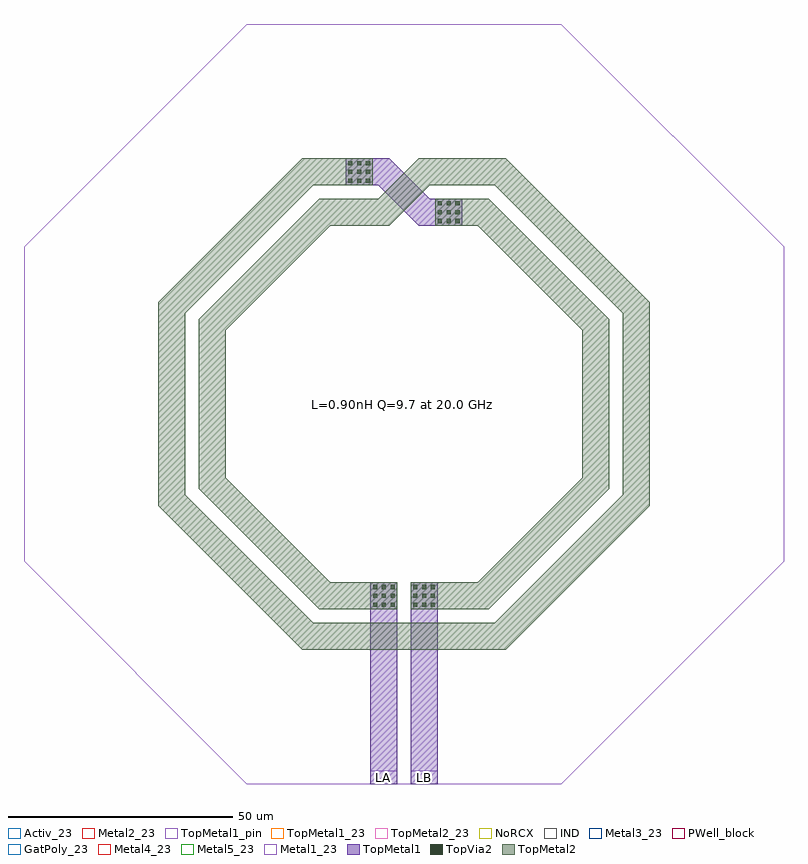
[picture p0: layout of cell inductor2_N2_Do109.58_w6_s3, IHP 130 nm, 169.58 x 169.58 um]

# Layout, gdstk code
import gdstk
lib = gdstk.Library(unit=1e-6, precision=1e-09)
def R(c, l, rs):  # rectangles x0, y0, x1, y1
    for r in rs: c.add(gdstk.rectangle(r[:2], r[2:], *l))
def A(c, l, x, y, w, h, nx, ny, dx, dy):  # array of equal rectangles
    R(c, l, [(x+i*dx, y+j*dy, x+i*dx+w, y+j*dy+h) for i in range(nx) for j in range(ny)])
def P(c, l, *ps):  # polygons
    for p in ps: c.add(gdstk.Polygon(p, *l))
Activ_23 = (1, 23)
GatPoly_23 = (5, 23)
Metal1_23 = (8, 23)
Metal2_23 = (10, 23)
IND = (27, 0)
Metal3_23 = (30, 23)
PWell_block = (46, 21)
Metal4_23 = (50, 23)
Metal5_23 = (67, 23)
TopMetal1 = (126, 0)
TopMetal1_pin = (126, 2)
TopMetal1_23 = (126, 23)
TopVia2 = (133, 0)
TopMetal2 = (134, 0)
TopMetal2_23 = (134, 23)
NoRCX = (148, 0)

inductor2_n2_do109_58_w6 = lib.new_cell('inductor2_N2_Do109.58_w6_s3')
P(inductor2_n2_do109_58_w6, Activ_23, [(35.12,-84.79),(84.79,-35.12),(84.79,35.12),(35.12,84.79),(-35.12,84.79),(-84.79,35.12),(-84.79,-35.12),(-35.12,-84.79)])
P(inductor2_n2_do109_58_w6, GatPoly_23, [(35.12,-84.79),(84.79,-35.12),(84.79,35.12),(35.12,84.79),(-35.12,84.79),(-84.79,35.12),(-84.79,-35.12),(-35.12,-84.79)])
P(inductor2_n2_do109_58_w6, Metal1_23, [(35.12,-84.79),(84.79,-35.12),(84.79,35.12),(35.12,84.79),(-35.12,84.79),(-84.79,35.12),(-84.79,-35.12),(-35.12,-84.79)])
P(inductor2_n2_do109_58_w6, Metal2_23, [(35.12,-84.79),(84.79,-35.12),(84.79,35.12),(35.12,84.79),(-35.12,84.79),(-84.79,35.12),(-84.79,-35.12),(-35.12,-84.79)])
P(inductor2_n2_do109_58_w6, IND, [(35.12,-84.79),(84.79,-35.12),(84.79,35.12),(35.12,84.79),(-35.12,84.79),(-84.79,35.12),(-84.79,-35.12),(-35.12,-84.79)])
P(inductor2_n2_do109_58_w6, Metal3_23, [(35.12,-84.79),(84.79,-35.12),(84.79,35.12),(35.12,84.79),(-35.12,84.79),(-84.79,35.12),(-84.79,-35.12),(-35.12,-84.79)])
P(inductor2_n2_do109_58_w6, PWell_block, [(35.12,-84.79),(84.79,-35.12),(84.79,35.12),(35.12,84.79),(-35.12,84.79),(-84.79,35.12),(-84.79,-35.12),(-35.12,-84.79)])
P(inductor2_n2_do109_58_w6, Metal4_23, [(35.12,-84.79),(84.79,-35.12),(84.79,35.12),(35.12,84.79),(-35.12,84.79),(-84.79,35.12),(-84.79,-35.12),(-35.12,-84.79)])
P(inductor2_n2_do109_58_w6, Metal5_23, [(35.12,-84.79),(84.79,-35.12),(84.79,35.12),(35.12,84.79),(-35.12,84.79),(-84.79,35.12),(-84.79,-35.12),(-35.12,-84.79)])
R(inductor2_n2_do109_58_w6, TopMetal1, [(-7.5,-84.79,-1.5,-39.79), (1.5,-84.79,7.5,-39.79)])
P(inductor2_n2_do109_58_w6, TopMetal1, [(-12.98,54.79),(-12.98,48.79),(-5.743,48.79),(3.257,39.79),(12.98,39.79),(12.98,45.79),(5.743,45.79),(-3.257,54.79)])
R(inductor2_n2_do109_58_w6, TopMetal1_pin, [(-7.5,-84.79,-1.5,-81.79), (1.5,-84.79,7.5,-81.79)])
P(inductor2_n2_do109_58_w6, TopMetal1_23, [(35.12,-84.79),(84.79,-35.12),(84.79,35.12),(35.12,84.79),(-35.12,84.79),(-84.79,35.12),(-84.79,-35.12),(-35.12,-84.79)])
A(inductor2_n2_do109_58_w6, TopVia2, -6.91, -45.2, 0.9, 0.9, 3, 3, 1.96, 1.96)
A(inductor2_n2_do109_58_w6, TopVia2, 2.09, -45.2, 0.9, 0.9, 3, 3, 1.96, 1.96)
A(inductor2_n2_do109_58_w6, TopVia2, 7.57, 40.38, 0.9, 0.9, 3, 3, 1.96, 1.96)
A(inductor2_n2_do109_58_w6, TopVia2, -12.4, 49.38, 0.9, 0.9, 3, 3, 1.96, 1.96)
R(inductor2_n2_do109_58_w6, TopMetal2, [(-12.985,-54.79,12.985,-48.79)])
P(inductor2_n2_do109_58_w6, TopMetal2, [(-6.98,-54.79),(-6.98,-48.79),(-20.207,-48.79),(-48.79,-20.207),(-48.79,6),(-54.79,6),(-54.79,-22.693),(-22.693,-54.79)],
  [(-6.98,48.79),(-6.98,54.79),(-22.693,54.79),(-54.79,22.693),(-54.79,-6),(-48.79,-6),(-48.79,20.207),(-20.207,48.79)],
  [(6.98,-48.79),(6.98,-54.79),(22.693,-54.79),(54.79,-22.693),(54.79,6),(48.79,6),(48.79,-20.207),(20.207,-48.79)],
  [(6.98,54.79),(6.98,48.79),(20.207,48.79),(48.79,20.207),(48.79,-6),(54.79,-6),(54.79,22.693),(22.693,54.79)],
  [(-1.5,-45.79),(-1.5,-39.79),(-16.477,-39.79),(-39.79,-16.477),(-39.79,6),(-45.79,6),(-45.79,-18.963),(-18.963,-45.79)],
  [(-6.98,39.79),(-6.98,45.79),(-18.963,45.79),(-45.79,18.963),(-45.79,-6),(-39.79,-6),(-39.79,16.477),(-16.477,39.79)],
  [(1.5,-39.79),(1.5,-45.79),(18.963,-45.79),(45.79,-18.963),(45.79,6),(39.79,6),(39.79,-16.477),(16.477,-39.79)],
  [(6.98,45.79),(6.98,39.79),(16.477,39.79),(39.79,16.477),(39.79,-6),(45.79,-6),(45.79,18.963),(18.963,45.79)],
  [(-12.98,45.79),(-12.98,39.79),(-3.257,39.79),(5.743,48.79),(12.98,48.79),(12.98,54.79),(3.257,54.79),(-5.743,45.79)])
P(inductor2_n2_do109_58_w6, TopMetal2_23, [(35.12,-84.79),(84.79,-35.12),(84.79,35.12),(35.12,84.79),(-35.12,84.79),(-84.79,35.12),(-84.79,-35.12),(-35.12,-84.79)])
P(inductor2_n2_do109_58_w6, NoRCX, [(35.12,-84.79),(84.79,-35.12),(84.79,35.12),(35.12,84.79),(-35.12,84.79),(-84.79,35.12),(-84.79,-35.12),(-35.12,-84.79)])
inductor2_n2_do109_58_w6.add(gdstk.Label('LA', (-4.5,-83.29), layer=27, texttype=25))
inductor2_n2_do109_58_w6.add(gdstk.Label('LB', (4.5,-83.29), layer=27, texttype=25))
inductor2_n2_do109_58_w6.add(gdstk.Label('L=0.90nH Q=9.7 at 20.0 GHz\n  number of turns: 2\n  width: 6.00\n  spacing: 3.00\n  outer diameter: 109.58\n  inner diameter: 79.58\n', (0,0), layer=63, texttype=0))

lib.write_gds('inductor2_N2_Do109.58_w6_s3.gds')
